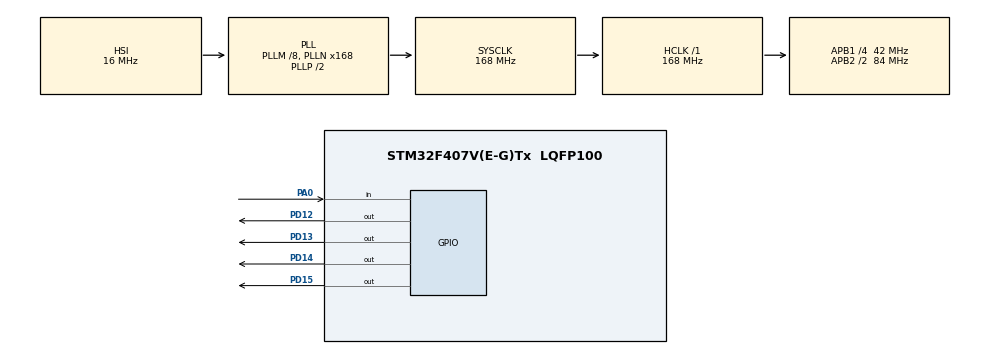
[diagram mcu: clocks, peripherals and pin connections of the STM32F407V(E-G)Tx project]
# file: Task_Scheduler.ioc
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Mcu.Family=STM32F4
Mcu.Name=STM32F407V(E-G)Tx
Mcu.Package=LQFP100
NVIC.PriorityGroup=NVIC_PRIORITYGROUP_4
NVIC.TIM6_DAC_IRQn=true\:0\:0\:false\:false\:true\:true\:true
PA0-WKUP.Signal=GPIO_Input
PD12.Signal=GPIO_Output
PD13.Signal=GPIO_Output
PD14.Signal=GPIO_Output
PD15.Signal=GPIO_Output
PH0-OSC_IN.Mode=HSE-External-Clock-Source
PH0-OSC_IN.Signal=RCC_OSC_IN
PH1-OSC_OUT.Mode=HSE-External-Clock-Source
PH1-OSC_OUT.Signal=RCC_OSC_OUT
ProjectManager.HeapSize=0x200
ProjectManager.StackSize=0x400
ProjectManager.TargetToolchain=STM32CubeIDE
RCC.48MHZClocksFreq_Value=84000000
RCC.AHBFreq_Value=168000000
RCC.APB1CLKDivider=RCC_HCLK_DIV4
RCC.APB1Freq_Value=42000000
RCC.APB1TimFreq_Value=84000000
RCC.APB2CLKDivider=RCC_HCLK_DIV2
RCC.APB2Freq_Value=84000000
RCC.APB2TimFreq_Value=168000000
RCC.CortexFreq_Value=168000000
RCC.HCLKFreq_Value=168000000
RCC.HSE_VALUE=25000000
RCC.HSI_VALUE=16000000
RCC.LSE_VALUE=32768
RCC.PLLM=8
RCC.PLLN=168
RCC.SYSCLKFreq_VALUE=168000000
RCC.SYSCLKSource=RCC_SYSCLKSOURCE_PLLCLK
RCC.VCOOutputFreq_Value=336000000
TIM6.AutoReloadPreload=TIM_AUTORELOAD_PRELOAD_ENABLE
TIM6.Period=4096
TIM6.Prescaler=2563
VP_TIM6_VS_ClockSourceINT.Mode=Enable_Timer
board=custom

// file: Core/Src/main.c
/* USER CODE BEGIN Header */
/**
  ******************************************************************************
  * @file           : main.c
  * @brief          : Main program body
  ******************************************************************************
  * @attention
  *
  * <h2><center>&copy; Copyright (c) 2023 STMicroelectronics.
  * All rights reserved.</center></h2>
  *
  * This software component is licensed by ST under BSD 3-Clause license,
  * the "License"; You may not use this file except in compliance with the
  * License. You may obtain a copy of the License at:
  *                        opensource.org/licenses/BSD-3-Clause
  *
  ******************************************************************************
  */
/* USER CODE END Header */
#include "main.h"
#include "arm_math.h"
/* USER CODE BEGIN Includes */
#include "scheduler.h"
#include "LED_control.h"
/* USER CODE END Includes */

/* USER CODE BEGIN PD */
#define FFT_Length  1024
/* USER CODE END PD */

TIM_HandleTypeDef htim6;

/* USER CODE BEGIN PV */
float32_t FFT_Input_Q15_f[50];
float32_t aFFT_Input_Q15[50];
/* USER CODE END PV */

void SystemClock_Config(void);
static void MX_GPIO_Init(void);
static void MX_TIM6_Init(void);

/* USER CODE BEGIN 0 */
task_t Task;
uint16_t tim_count=0;
/* USER CODE END 0 */

int main(void)
{
  /* USER CODE BEGIN 1 */
	arm_float_to_q15((float32_t *)&FFT_Input_Q15_f[0], (q15_t *)&aFFT_Input_Q15[0], FFT_Length*2);
  /* USER CODE END 1 */

  /* MCU Configuration--------------------------------------------------------*/

  /* Reset of all peripherals, Initializes the Flash interface and the Systick. */
  HAL_Init();

  /* Configure the system clock */
  SystemClock_Config();

  /* Initialize all configured peripherals */
  MX_GPIO_Init();
  MX_TIM6_Init();
  LED_Scheduler_init();
  /* USER CODE BEGIN 2 */
  HAL_TIM_Base_Start_IT(&htim6);
  /* USER CODE END 2 */

  /* Infinite loop */
  while (1)
  {

  }
}

void SystemClock_Config(void)
{
  RCC_OscInitTypeDef RCC_OscInitStruct = {0};
  RCC_ClkInitTypeDef RCC_ClkInitStruct = {0};

  /** Configure the main internal regulator output voltage
  */
  __HAL_RCC_PWR_CLK_ENABLE();
  __HAL_PWR_VOLTAGESCALING_CONFIG(PWR_REGULATOR_VOLTAGE_SCALE1);
  /** Initializes the RCC Oscillators according to the specified parameters
  * in the RCC_OscInitTypeDef structure.
  */
  RCC_OscInitStruct.OscillatorType = RCC_OSCILLATORTYPE_HSI;
  RCC_OscInitStruct.HSIState = RCC_HSI_ON;
  RCC_OscInitStruct.HSICalibrationValue = RCC_HSICALIBRATION_DEFAULT;
  RCC_OscInitStruct.PLL.PLLState = RCC_PLL_ON;
  RCC_OscInitStruct.PLL.PLLSource = RCC_PLLSOURCE_HSI;
  RCC_OscInitStruct.PLL.PLLM = 8;
  RCC_OscInitStruct.PLL.PLLN = 168;
  RCC_OscInitStruct.PLL.PLLP = RCC_PLLP_DIV2;
  RCC_OscInitStruct.PLL.PLLQ = 4;
  if (HAL_RCC_OscConfig(&RCC_OscInitStruct) != HAL_OK)
  {
    Error_Handler();
  }
  /** Initializes the CPU, AHB and APB buses clocks
  */
  RCC_ClkInitStruct.ClockType = RCC_CLOCKTYPE_HCLK|RCC_CLOCKTYPE_SYSCLK
                              |RCC_CLOCKTYPE_PCLK1|RCC_CLOCKTYPE_PCLK2;
  RCC_ClkInitStruct.SYSCLKSource = RCC_SYSCLKSOURCE_PLLCLK;
  RCC_ClkInitStruct.AHBCLKDivider = RCC_SYSCLK_DIV1;
  RCC_ClkInitStruct.APB1CLKDivider = RCC_HCLK_DIV4;
  RCC_ClkInitStruct.APB2CLKDivider = RCC_HCLK_DIV2;

  if (HAL_RCC_ClockConfig(&RCC_ClkInitStruct, FLASH_LATENCY_5) != HAL_OK)
  {
    Error_Handler();
  }
}

static void MX_TIM6_Init(void)
{

  TIM_MasterConfigTypeDef sMasterConfig = {0};

  htim6.Instance = TIM6;
  htim6.Init.Prescaler = 2563;
  htim6.Init.CounterMode = TIM_COUNTERMODE_UP;
  htim6.Init.Period = 4096;
  htim6.Init.AutoReloadPreload = TIM_AUTORELOAD_PRELOAD_ENABLE;
  if (HAL_TIM_Base_Init(&htim6) != HAL_OK)
  {
    Error_Handler();
  }
  sMasterConfig.MasterOutputTrigger = TIM_TRGO_RESET;
  sMasterConfig.MasterSlaveMode = TIM_MASTERSLAVEMODE_DISABLE;
  if (HAL_TIMEx_MasterConfigSynchronization(&htim6, &sMasterConfig) != HAL_OK)
  {
    Error_Handler();
  }

}

static void MX_GPIO_Init(void)
{
  GPIO_InitTypeDef GPIO_InitStruct = {0};

  /* GPIO Ports Clock Enable */
  __HAL_RCC_GPIOH_CLK_ENABLE();
  __HAL_RCC_GPIOA_CLK_ENABLE();
  __HAL_RCC_GPIOD_CLK_ENABLE();

  /*Configure GPIO pin Output Level */
  HAL_GPIO_WritePin(GPIOD, GPIO_PIN_12|GPIO_PIN_13|GPIO_PIN_14|GPIO_PIN_15, GPIO_PIN_RESET);

  /*Configure GPIO pin : PA0 */
  GPIO_InitStruct.Pin = GPIO_PIN_0;
  GPIO_InitStruct.Mode = GPIO_MODE_INPUT;
  GPIO_InitStruct.Pull = GPIO_NOPULL;
  HAL_GPIO_Init(GPIOA, &GPIO_InitStruct);

  /*Configure GPIO pins : PD12 PD13 PD14 PD15 */
  GPIO_InitStruct.Pin = GPIO_PIN_12|GPIO_PIN_13|GPIO_PIN_14|GPIO_PIN_15;
  GPIO_InitStruct.Mode = GPIO_MODE_OUTPUT_PP;
  GPIO_InitStruct.Pull = GPIO_NOPULL;
  GPIO_InitStruct.Speed = GPIO_SPEED_FREQ_LOW;
  HAL_GPIO_Init(GPIOD, &GPIO_InitStruct);

}

/* USER CODE BEGIN 4 */
void HAL_TIM_PeriodElapsedCallback(TIM_HandleTypeDef *htim)
{
	//if(tim_count++ > 8)
	{
		tim_count=0;
		Task.elapse_time++;
		SchedularHandler(Task.elapse_time);
	}

	if (Task.elapse_time > 32)
	{
		clear_LED();
		Task.elapse_time=0;
	}

}
/* USER CODE END 4 */

void Error_Handler(void)
{
  __disable_irq();
  while (1)
  {
  }
}

/************************ (C) COPYRIGHT STMicroelectronics *****END OF FILE****/
